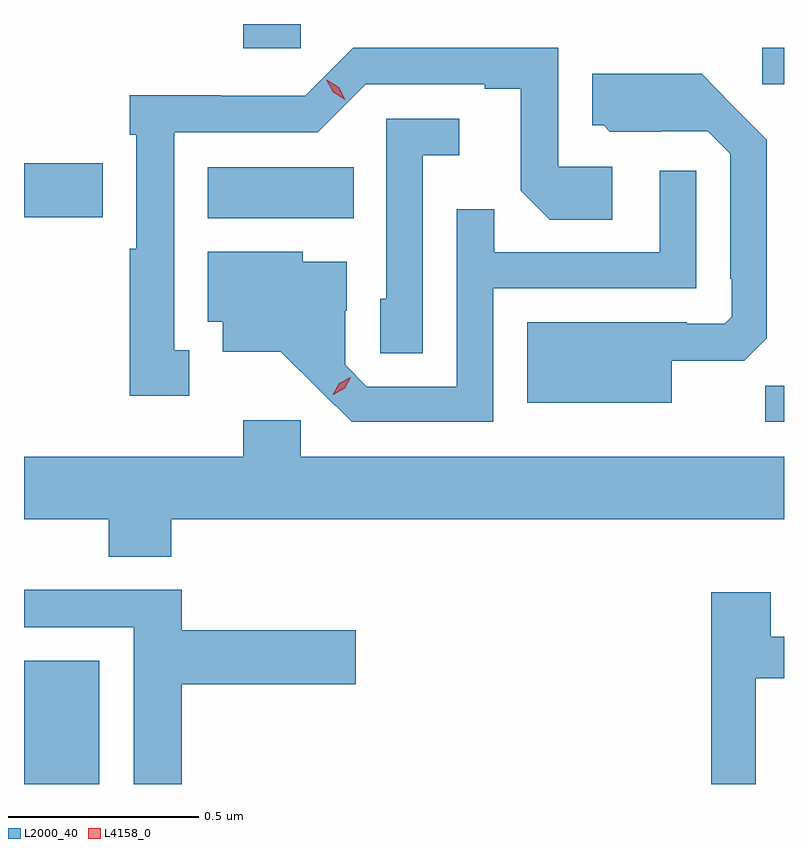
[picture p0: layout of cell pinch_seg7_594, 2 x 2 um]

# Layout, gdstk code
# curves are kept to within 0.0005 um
import gdstk
lib = gdstk.Library(unit=1e-6, precision=1e-09)
def R(c, l, rs):  # rectangles x0, y0, x1, y1
    for r in rs: c.add(gdstk.rectangle(r[:2], r[2:], *l))
def P(c, l, *ps):  # polygons
    for p in ps: c.add(gdstk.Polygon(p, *l))
L2000_40 = (2000, 40)
L4158_0 = (4158, 0)

pinch_seg7_594 = lib.new_cell('pinch_seg7_594')
R(pinch_seg7_594, L2000_40, [(135.556,1057.195,135.754,1057.519), (137.506,1058.148,137.556,1058.243), (136.04,1058.684,136.424,1058.818), (135.556,1058.687,135.763,1058.829), (137.499,1059.036,137.556,1059.132), (136.133,1059.131,136.284,1059.195)])
P(pinch_seg7_594, L2000_40, [(135.991,1058.337),(135.952,1058.337),(135.952,1058.91),(136.329,1058.91),(136.455,1059.036),(136.769,1059.036),(136.769,1059.024),(136.863,1059.024),(136.863,1058.756),(136.939,1058.68),(137.104,1058.68),(137.104,1058.82),(136.962,1058.82),(136.962,1059.132),(136.422,1059.132),(136.296,1059.006),(136.074,1059.006),(136.074,1059.008),(135.834,1059.008),(135.834,1058.903),(135.851,1058.903),(135.851,1058.603),(135.834,1058.603),(135.834,1058.217),(135.991,1058.217)],
  [(137.26,1058.309),(137.452,1058.309),(137.511,1058.368),(137.511,1058.89),(137.339,1059.064),(137.051,1059.064),(137.051,1058.928),(137.082,1058.928),(137.098,1058.912),(137.232,1058.912),(137.232,1058.913),(137.355,1058.913),(137.415,1058.853),(137.415,1058.524),(137.418,1058.524),(137.418,1058.424),(137.4,1058.406),(137.3,1058.406),(137.3,1058.41),(136.88,1058.41),(136.88,1058.198),(137.26,1058.198)],
  [(136.605,1058.849),(136.702,1058.849),(136.702,1058.946),(136.509,1058.946),(136.509,1058.472),(136.494,1058.472),(136.494,1058.329),(136.605,1058.329)],
  [(136.791,1058.499),(137.325,1058.499),(137.325,1058.809),(137.229,1058.809),(137.229,1058.595),(136.793,1058.595),(136.793,1058.708),(136.695,1058.708),(136.695,1058.241),(136.458,1058.241),(136.401,1058.298),(136.401,1058.44),(136.405,1058.44),(136.405,1058.569),(136.29,1058.569),(136.29,1058.596),(136.04,1058.596),(136.04,1058.412),(136.079,1058.412),(136.079,1058.333),(136.231,1058.333),(136.418,1058.148),(136.791,1058.148)],
  [(135.944,1057.892),(137.556,1057.892),(137.556,1058.056),(136.284,1058.056),(136.284,1058.152),(136.133,1058.152),(136.133,1058.056),(135.556,1058.056),(135.556,1057.892),(135.779,1057.892),(135.779,1057.793),(135.944,1057.793)],
  [(135.971,1057.457),(136.429,1057.457),(136.429,1057.599),(135.971,1057.599),(135.971,1057.706),(135.556,1057.706),(135.556,1057.608),(135.845,1057.608),(135.845,1057.195),(135.971,1057.195)],
  [(137.481,1057.473),(137.556,1057.473),(137.556,1057.582),(137.521,1057.582),(137.521,1057.699),(137.365,1057.699),(137.365,1057.195),(137.481,1057.195)])
P(pinch_seg7_594, L4158_0, [(136.369,1058.22),(136.369,1058.22),(136.386,1058.25),(136.416,1058.266),(136.416,1058.266),(136.416,1058.266),(136.4,1058.236),(136.37,1058.22)],
  [(136.401,1058.996),(136.37,1059.015),(136.352,1059.048),(136.352,1059.048),(136.353,1059.048),(136.384,1059.029),(136.401,1058.996),(136.401,1058.996)])

lib.write_gds('pinch_seg7_594.gds')
